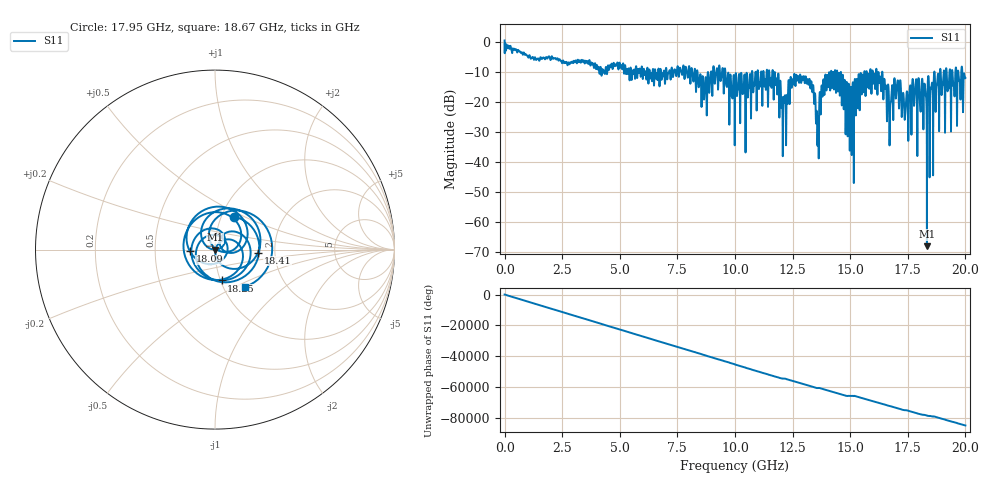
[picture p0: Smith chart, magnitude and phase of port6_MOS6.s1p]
! MS46122B
! 2250307/22442219
! 7/21/2025 12:10:02 PM
! C:\USERS\SPARKY\DOCUMENTS\VNA_DATA\JULY21_2025\295K\PORT6_MOS6.S1P
! CHANNEL.1
! TR.MEASUREMENT
! RAW.DATA
# GHZ S RI R 50.0
! FREQ.GHZ  S11RE  S11IM
!; PortSelection: Port_1
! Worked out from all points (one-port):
!   10001 points, 1 MHz to 20 GHz, reference 50 ohm
!   lowest |S11| = -68.0 dB at 18.33 GHz (marker M1), VSWR 1.00, Z = 50 - j0.0305 ohm
!   |S11| at or under -10 dB: 11.65 GHz to 14.17 GHz (2.52 GHz wide, 19.5 % of centre); 14.44 GHz to 15.62 GHz (1.179 GHz wide, 7.84 % of centre); 16.39 GHz to 18.65 GHz (2.255 GHz wide, 12.9 % of centre) (the widest 3 of 68)
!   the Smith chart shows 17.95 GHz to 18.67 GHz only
!   S11 on the Smith chart (normalised r, x): 17.95 GHz: 1.15, +0.44; 18.09 GHz: 0.75, -0.01; 18.25 GHz: 1.01, -0.36; 18.41 GHz: 1.63, -0.06; 18.67 GHz: 1.26, -0.56
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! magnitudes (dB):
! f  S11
! 1 MHz  0.4
! 2.501 GHz  -7.1
! 5.001 GHz  -7.3
! 7.501 GHz  -8.4
! 8.705 GHz  -13.4
! 9.389 GHz  -12.7
! 10 GHz  -18.3
! 11.8 GHz  -12.2
! 12.14 GHz  -20.4
! 12.5 GHz  -12.5
! 13.31 GHz  -13.2
! 13.57 GHz  -27.6
! 13.84 GHz  -12.5
! 14.09 GHz  -10.2
! 14.51 GHz  -10.4
! 15 GHz  -19.2
! 16.05 GHz  -10.7
! 16.46 GHz  -13.6
! 16.68 GHz  -18.1
! 16.99 GHz  -18.1
! 17.5 GHz  -22.0
! 17.95 GHz  -13.5
! 18.09 GHz  -17.0
! 18.25 GHz  -15.1
! 18.33 GHz  -68.0
! 18.41 GHz  -12.4
! 18.67 GHz  -11.5
! 20 GHz  -12.1
